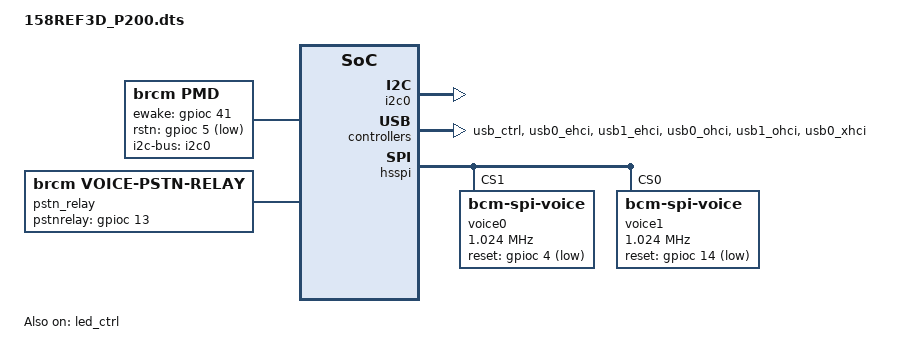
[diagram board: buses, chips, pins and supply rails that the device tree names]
#include "63158.dtsi"
#include "../bcm_voice.dtsi"

/ {
    memory_controller {
        memcfg = <(BP_DDR_SPEED_1067_14_14_14 | \
                   BP_DDR_TOTAL_SIZE_1024MB   | \
                   BP_DDR_DEVICE_WIDTH_16     | \
                   BP_DDR_TOTAL_WIDTH_32BIT   | \
                   BP_DDR_SSC_CONFIG_1)>;
    };


	buttons {
		compatible = "brcm,buttons";
		reset_button {
			ext_irq = <&bca_extintr 46 BCA_GPIO_ACTIVE_LOW (BCA_EXTINTR_TYPE_LOW_LEVEL | BCA_EXTINTR_TYPE_SENSE_EDGE)>;
			press {
				print = "Button Press -- Hold for 5s to do restore to default";
			};
			hold {
				rst_to_dflt = <5>;
			};
			release {
				reset = <0>;
			};	
		};
		
		ses_button {
			ext_irq = <&bca_extintr 38 BCA_GPIO_ACTIVE_LOW (BCA_EXTINTR_TYPE_LOW_LEVEL | BCA_EXTINTR_TYPE_SENSE_EDGE)>;
			release {
				ses_short_period = <0>;
				ses_long_period = <3>;
			};
		};
	};

	pmd: pmd {
		compatible = "brcm,pmd";
		pinctrl-names = "state_ewake";
		pinctrl-0 = <&c_wan_early_txen_pin_41>;
		ewake-gpio = <&gpioc 41 GPIO_ACTIVE_HIGH>;
		rstn-gpio = <&gpioc 5 GPIO_ACTIVE_LOW>;
		alarm = <&bca_extintr 40 GPIO_ACTIVE_HIGH (BCA_EXTINTR_TYPE_HIGH_LEVEL | BCA_EXTINTR_TYPE_SENSE_EDGE)>;
		apd-boost;
		i2c-bus = <&i2c0>;
	};

	pstn_relay:pstn_relay {
		compatible = "brcm,voice-pstn-relay";
		pstnrelay-gpio = <&gpioc 13 GPIO_ACTIVE_HIGH>;
	};
};

&i2c0 {
	pinctrl-names = "default";
	pinctrl-0 = <&b0_i2c_scl_0_pin_25 &b0_i2c_sda_0_pin_24>;
	status = "okay";
};

&usb_ctrl {
	pinctrl-names="default";
	pinctrl-0 = <&usb0a_pwr_pins &usb1a_pwr_pins>;
	status = "okay";
	xhci-enable;
};

&usb0_ehci {
	status = "okay";
};
&usb1_ehci {
	status = "okay";
};

&usb0_ohci {
	status = "okay";
};
&usb1_ohci {
	status = "okay";
};

&usb0_xhci {
	status = "okay";
};

&mdio_sf2 {
	/* PHYs directly connected to SF2 */
	gphy8:8 {
		status = "okay";
	};
	gphy9:9 {
		status = "okay";
	};
	gphya:a {
		status = "okay";
	};
	gphyb:b {
		status = "okay";
	};

	/* PHYs connected to crossbar */
	gphyc:c {
		status = "okay";
	};
	phy_serdes1:serdes1 {
		status = "okay";
	};

	/* Crossbar groups */
	xbar_grp2:2 {
		phy-handle = <&gphyc &phy_serdes1>;
		status = "okay";
	};
};

&switch_sf2 {
	ports {
		sf2_port0@0 {
			phy-handle = <&gphy8>;
			network-leds = <&led0 &led1>;
			status = "okay";
		};

		sf2_port1@1 {
			phy-handle = <&gphy9>;
			network-leds = <&led2 &led3>;
			status = "okay";
		};

		sf2_port2@2 {
			phy-handle = <&gphya>;
			network-leds = <&led4 &led5>;
			status = "okay";
		};

		sf2_port3@3 {
			phy-handle = <&gphyb>;
			network-leds = <&led6 &led7>;
			status = "okay";
		};

	};
};

&switch0 {
	ports {
		
		port5@5 {
			phy-handle = <&xbar_grp2>;
			status = "okay";
		};

	};
};

&led_ctrl {
    status = "okay";
    pinctrl-names = "default";
    pinctrl-0 = <&a_ser_led_clk_pin_1 &a_ser_led_data_pin_0 &a_ser_led_mask_pin_2>;
    serial-shifters-installed = <3>;
    serial-data-polarity-high;
    led0: port_0-led_0-bit_0 {
        active_high;
        link = <(LED_SPEED_10|LED_SPEED_100)>;
        status = "okay";
    };
    led1: port_0-led_1-bit_1 {
        active_high;
        link = <(LED_SPEED_100|LED_SPEED_1G)>;
        status = "okay";
    };
    led2: port_1-led_0-bit_2 {
        active_high;
        link = <(LED_SPEED_10|LED_SPEED_100)>;
        status = "okay";
    };
    led3: port_1-led_1-bit_3 {
        active_high;
        link = <(LED_SPEED_100|LED_SPEED_1G)>;
        status = "okay";
    };
    led4: port_2-led_0-bit_4 {
        active_high;
        link = <(LED_SPEED_10|LED_SPEED_100)>;
        status = "okay";
    };
    led5: port_2-led_1-bit_5 {
        active_high;
        link = <(LED_SPEED_100|LED_SPEED_1G)>;
        status = "okay";
    };
    led6: port_3-led-0-pin_6 {
        active_high;
        link = <(LED_SPEED_10|LED_SPEED_100)>;
        status = "okay";
    };
    led7: port_3-led-1-pin_7 {
        active_high;
        link = <(LED_SPEED_100|LED_SPEED_1G)>;
        status = "okay";
    };
    led8: port_4-led_0-bit_8 {
        active_high;
        link = <(LED_SPEED_10|LED_SPEED_100)>;
        status = "okay";
    };
    led9: port_4-led_1-bit_9 {
        active_high;
        link = <(LED_SPEED_100|LED_SPEED_1G)>;
        status = "okay";
    };
    led10: port_5-led_0-bit_10 {
        active_high;
        link = <(LED_SPEED_10|LED_SPEED_100)>;
        status = "okay";
    };
    led11: port_5-led_1-bit_11 {
        active_high;
        link = <(LED_SPEED_100|LED_SPEED_1G)>;
        status = "okay";
    };
    led12: port_5-led_2-bit_12 {
        active_high;
        activity = <LED_SPEED_GBE>;
        status = "okay";
    };
    led13: port_6-led_0-bit_13 {
        active_high;
        link = <(LED_SPEED_10|LED_SPEED_100)>;
        status = "okay";
    };
    led14: port_6-led_1-bit_14 {
        active_high;
        link = <(LED_SPEED_100|LED_SPEED_1G)>;
        status = "okay";
    };
    led15: port_6-led_2-bit_15 {
        active_high;
        link = <(LED_SPEED_100|LED_SPEED_1G)>;
        status = "okay";
    };
    led16: port_7-led_0-bit_16 {
        active_high;
        link = <(LED_SPEED_10|LED_SPEED_100)>;
        status = "okay";
    };
    led17: port_7-led_1-bit_17 {
        active_high;
        link = <(LED_SPEED_100|LED_SPEED_1G)>;
        status = "okay";
    };
    led18: dsl_1-led-0-pin_18 {
        active_high;
        status = "okay";
    };
    led19: dsl-2-led_1-bit_19 {
        active_high;
        link = <(LED_SPEED_100|LED_SPEED_1G)>;
        status = "okay";
    };

    led20: port_0-led_3-bit_20 {
        active_high;
        activity = <LED_SPEED_GBE>;
        status = "okay";
    };
    led21: port_1-led_3-bit_21 {
        active_high;
        activity = <LED_SPEED_GBE>;
        status = "okay";
    };
    led22: port_2-led_3-bit_22 {
        active_high;
        activity = <LED_SPEED_GBE>;
        status = "okay";
    };
    led23: port_3-led-3-pin_23 {
        active_high;
        activity = <LED_SPEED_GBE>;
        status = "okay";
    };
    led24: port_4-led_3-bit_24 {
        active_high;
        activity = <LED_SPEED_GBE>;
        status = "okay";
    };
    led25: port_5-led_3-bit_25 {
        active_high;
        activity = <LED_SPEED_GBE>;
        status = "okay";
    };
    led26: port_6-led_3-bit_26 {
        active_high;
        activity = <LED_SPEED_GBE>;
        status = "okay";
    };
    led27: port_7-led_3-bit_27 {
        active_high;
        activity = <LED_SPEED_GBE>;
        status = "okay";
    };
    led28: sw_led_28-pin_28 {
        active_low;
        status = "okay";
    };
    led29: sw_led_29-pin_29 {
        active_low;
        status = "okay";
    };
    led30: inet-led-0-pin_30 {
        active_high;
        status = "okay";
    };
    led31: inet-led-1-pin_31 {
        active_high;
        status = "okay";
    };

};
&bcm_voice{
	sliclist = SLICSLAC_LIST_COMMON_NOFXO;
 };

&hsspi {
	voice0 {
		pinctrl-0 = <&spim_ss1_b_pin_112>;
		pinctrl-names = "default";
		compatible = "bcm-spi-voice";
		reg = <1>; /* chip select 1 */
		spi-max-frequency = <1024000>;
		reset-gpio = <&gpioc 4 GPIO_ACTIVE_LOW>;
		spi-index = <0>;/* voice header index */
	};
	/* reset not connected to 963158D piggyback board */
	voice1 { 
		pinctrl-0 = <&spim_ss0_b_pin_111>;
		pinctrl-names = "default";
		compatible = "bcm-spi-voice";
		reg = <0>; 
		spi-max-frequency = <1024000>;
		reset-gpio = <&gpioc 14 GPIO_ACTIVE_LOW>;
		spi-index = <1>;
	};

};

&vreg_sync {
		pinctrl-0 = <&a_vreg_sync_pin_19>;
		pinctrl-names = "default";
		power_sync-gpio =  <&gpioc 8 GPIO_ACTIVE_LOW>;
};
